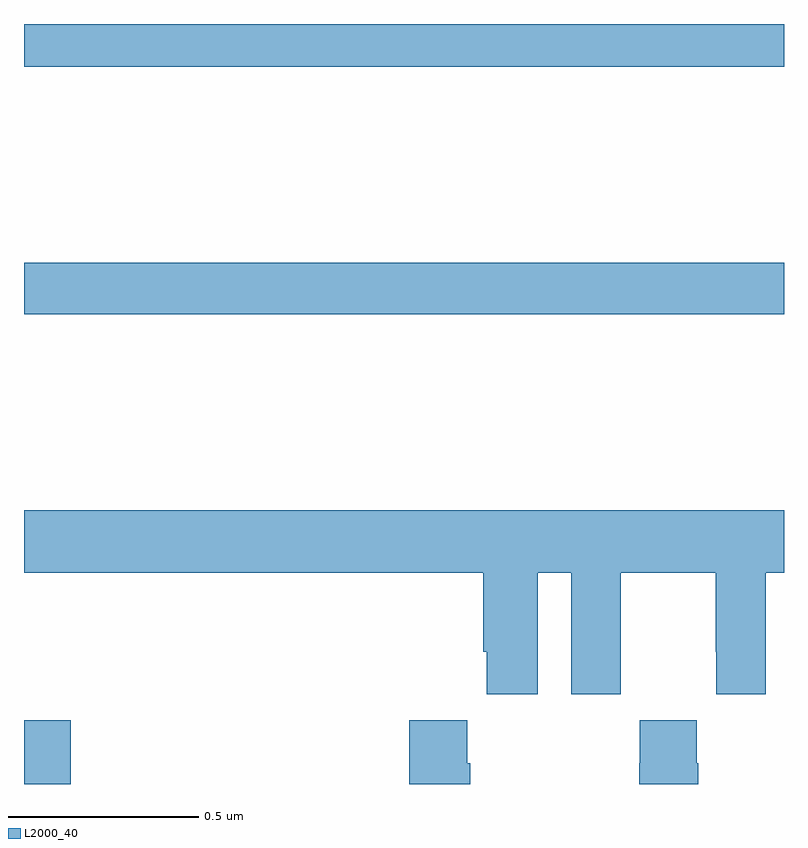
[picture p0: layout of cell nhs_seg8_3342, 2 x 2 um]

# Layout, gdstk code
import gdstk
lib = gdstk.Library(unit=1e-6, precision=1e-09)
def R(c, l, rs):  # rectangles x0, y0, x1, y1
    for r in rs: c.add(gdstk.rectangle(r[:2], r[2:], *l))
def P(c, l, *ps):  # polygons
    for p in ps: c.add(gdstk.Polygon(p, *l))
L2000_40 = (2000, 40)

nhs_seg8_3342 = lib.new_cell('nhs_seg8_3342')
R(nhs_seg8_3342, L2000_40, [(155,1159.9,155.123,1160.068), (155,1161.136,157,1161.272), (155,1161.788,157,1161.9)])
P(nhs_seg8_3342, L2000_40, [(156.352,1160.456),(156.44,1160.456),(156.44,1160.136),(156.57,1160.136),(156.57,1160.248),(156.571,1160.248),(156.571,1160.456),(156.821,1160.456),(156.821,1160.248),(156.822,1160.248),(156.822,1160.136),(156.952,1160.136),(156.952,1160.456),(157,1160.456),(157,1160.62),(155,1160.62),(155,1160.456),(156.209,1160.456),(156.209,1160.248),(156.218,1160.248),(156.218,1160.136),(156.352,1160.136)],
  [(156.174,1159.955),(156.167,1159.955),(156.167,1160.068),(156.014,1160.068),(156.014,1159.9),(156.174,1159.9)],
  [(156.774,1159.955),(156.771,1159.955),(156.771,1160.068),(156.621,1160.068),(156.621,1159.955),(156.619,1159.955),(156.619,1159.9),(156.774,1159.9)])

lib.write_gds('nhs_seg8_3342.gds')
